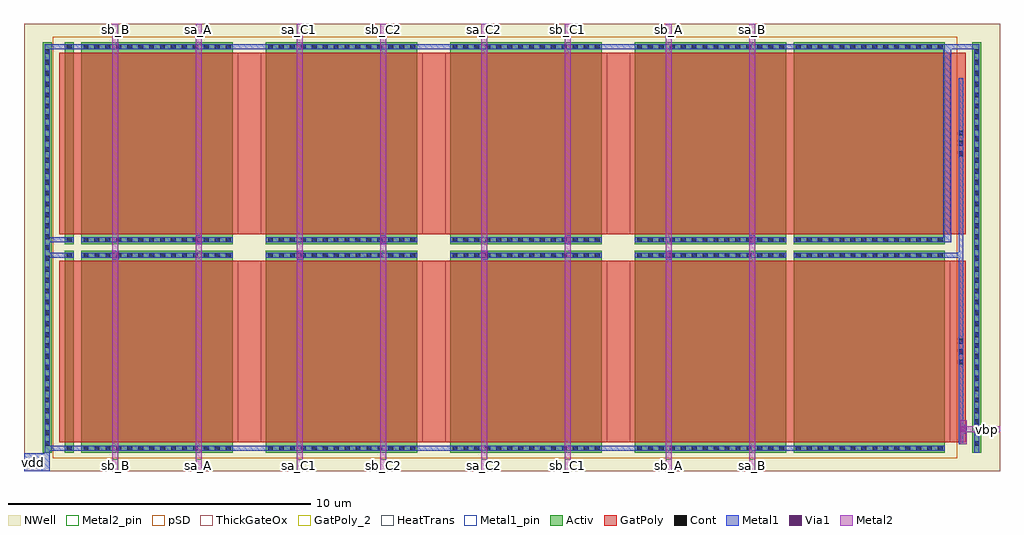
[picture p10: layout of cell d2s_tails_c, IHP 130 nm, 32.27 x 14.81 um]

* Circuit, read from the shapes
.subckt d2s_tails_c sa_A sa_B sa_C1 sa_C2 sb_A sb_B sb_C1 sb_C2 vbp vdd
XM1 vdd vbp vdd vdd sg13_hv_pmos w=0.3u l=6u m=2
XM2 sb_B vbp vdd vdd sg13_hv_pmos w=5u l=6u
XM3 vdd vbp sa_A vdd sg13_hv_pmos w=5u l=6u
XM4 sa_C1 vbp vdd vdd sg13_hv_pmos w=5u l=6u
XM5 vdd vbp sb_C2 vdd sg13_hv_pmos w=5u l=6u
XM6 sa_C2 vbp vdd vdd sg13_hv_pmos w=5u l=6u
XM7 vdd vbp sb_C1 vdd sg13_hv_pmos w=5u l=6u
XM8 sb_A vbp vdd vdd sg13_hv_pmos w=5u l=6u
XM9 vdd vbp sa_B vdd sg13_hv_pmos w=5u l=6u
XM10 vbp vbp vdd vdd sg13_hv_pmos w=5u l=6u
XM11 vdd vbp vdd vdd sg13_hv_pmos w=5u l=6u
.ends

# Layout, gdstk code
from math import pi, radians
import gdstk
lib = gdstk.Library(unit=1e-6, precision=1e-09)
def R(c, l, rs):  # rectangles x0, y0, x1, y1
    for r in rs: c.add(gdstk.rectangle(r[:2], r[2:], *l))
def A(c, l, x, y, w, h, nx, ny, dx, dy):  # array of equal rectangles
    R(c, l, [(x+i*dx, y+j*dy, x+i*dx+w, y+j*dy+h) for i in range(nx) for j in range(ny)])
Activ = (1, 0)
GatPoly = (5, 0)
GatPoly_2 = (5, 2)
Cont = (6, 0)
Metal1 = (8, 0)
Metal1_pin = (8, 2)
Metal2 = (10, 0)
Metal2_pin = (10, 2)
pSD = (14, 0)
Via1 = (19, 0)
NWell = (31, 0)
ThickGateOx = (44, 0)
HeatTrans = (51, 0)

pmoshv_w0p3_l6 = lib.new_cell('pmosHV_w0p3_l6')
R(pmoshv_w0p3_l6, Activ, [(0,0,0.3,0.3), (0,0,6.68,0.3), (6.38,0,6.68,0.3)])
R(pmoshv_w0p3_l6, GatPoly, [(0.34,-0.18,6.34,0.48)])
R(pmoshv_w0p3_l6, GatPoly_2, [(0.34,-0.18,6.34,0.48)])
R(pmoshv_w0p3_l6, Cont, [(0.07,0.07,0.23,0.23), (6.45,0.07,6.61,0.23)])
R(pmoshv_w0p3_l6, Metal1, [(0.07,0,0.23,0.3), (6.45,0,6.61,0.3)])
R(pmoshv_w0p3_l6, Metal1_pin, [(0.07,0,0.23,0.3), (6.45,0,6.61,0.3)])
R(pmoshv_w0p3_l6, pSD, [(-0.18,-0.4,6.86,0.7)])
R(pmoshv_w0p3_l6, NWell, [(-0.62,-0.62,7.3,0.92)])
R(pmoshv_w0p3_l6, ThickGateOx, [(-0.62,-0.62,7.3,0.92)])
R(pmoshv_w0p3_l6, HeatTrans, [(0.34,-0.18,6.34,0.48)])
pmoshv_w0p3_l6.add(gdstk.Label('pmos', (3.34,0.15), layer=51, texttype=0))
pmoshv_w0p3_l6.add(gdstk.Label('pmosHV', (3.34,0.15), layer=63, texttype=0))

pmoshv_1 = lib.new_cell('pmosHV$1')
R(pmoshv_1, Activ, [(0,0,0.3,0.3), (0,0,6.68,5), (6.38,0,6.68,0.3)])
R(pmoshv_1, GatPoly, [(0.34,-0.18,6.34,5.18)])
R(pmoshv_1, GatPoly_2, [(0.34,-0.18,6.34,5.18)])
A(pmoshv_1, Cont, 0.07, 0.07, 0.16, 0.16, 1, 4, 0, 0.36)
A(pmoshv_1, Cont, 6.45, 0.07, 0.16, 0.16, 1, 4, 0, 0.36)
A(pmoshv_1, Cont, 0.07, 1.515, 0.16, 0.16, 1, 3, 0, 0.36)
A(pmoshv_1, Cont, 6.45, 1.515, 0.16, 0.16, 1, 3, 0, 0.36)
A(pmoshv_1, Cont, 0.07, 2.6, 0.16, 0.16, 1, 3, 0, 0.36)
A(pmoshv_1, Cont, 6.45, 2.6, 0.16, 0.16, 1, 3, 0, 0.36)
A(pmoshv_1, Cont, 0.07, 3.685, 0.16, 0.16, 1, 3, 0, 0.36)
A(pmoshv_1, Cont, 6.45, 3.685, 0.16, 0.16, 1, 3, 0, 0.36)
R(pmoshv_1, Cont, [(0.07,4.77,0.23,4.93), (6.45,4.77,6.61,4.93)])
R(pmoshv_1, Metal1, [(0.07,0,0.23,5), (6.45,0,6.61,5)])
R(pmoshv_1, Metal1_pin, [(0.07,0,0.23,5), (6.45,0,6.61,5)])
R(pmoshv_1, pSD, [(-0.18,-0.4,6.86,5.4)])
R(pmoshv_1, NWell, [(-0.62,-0.62,7.3,5.62)])
R(pmoshv_1, ThickGateOx, [(-0.62,-0.62,7.3,5.62)])
R(pmoshv_1, HeatTrans, [(0.34,-0.18,6.34,5.18)])
pmoshv_1.add(gdstk.Label('pmos', (3.34,2.5), layer=51, texttype=0))
pmoshv_1.add(gdstk.Label('pmosHV', (3.34,2.5), layer=63, texttype=0))

d2s_tails_c = lib.new_cell('d2s_tails_c')
R(d2s_tails_c, Activ, [(0.62,0.62,0.92,14.19), (31.35,0.62,31.65,14.19)])
R(d2s_tails_c, GatPoly, [(1.35,0.96,31.13,6.96), (1.35,7.85,31.13,13.85)])
A(d2s_tails_c, Cont, 0.69, 0.845, 0.16, 0.16, 1, 37, 0, 0.36)
A(d2s_tails_c, Cont, 31.42, 0.845, 0.16, 0.16, 1, 37, 0, 0.36)
A(d2s_tails_c, Cont, 30.9, 3.54, 0.16, 0.16, 1, 3, 0, 0.34)
A(d2s_tails_c, Cont, 30.9, 10.43, 0.16, 0.16, 1, 3, 0, 0.34)
A(d2s_tails_c, Metal1, 2.915, 7.005, 0.21, 0.29, 4, 1, 6.1, 0)
A(d2s_tails_c, Metal1, 5.675, 7.515, 0.21, 0.29, 4, 1, 6.1, 0)
R(d2s_tails_c, Metal1, [(0,0,0.85,0.6), (0.69,0.3,0.85,14.12), (31.42,0.62,31.58,14.12), (0.69,0.69,30.45,0.85), (30.9,0.9,31.06,13), (30.955,1.255,31.165,1.545), (0.69,7.07,1.65,7.23), (30.4,7.07,31.06,7.23), (0.69,7.58,1.65,7.74), (30.4,7.58,30.66,14.12), (0.69,13.96,30.45,14.12), (30.4,13.96,31.58,14.12)])
R(d2s_tails_c, Metal1_pin, [(0,0,0.6,0.6)])
A(d2s_tails_c, Metal2, 2.92, 7.005, 0.2, 0.29, 4, 1, 6.1, 0)
A(d2s_tails_c, Metal2, 5.68, 7.515, 0.2, 0.29, 4, 1, 6.1, 0)
R(d2s_tails_c, Metal2, [(2.92,0,3.12,14.81), (5.68,0,5.88,14.81), (9.02,0,9.22,14.81), (11.78,0,11.98,14.81), (15.12,0,15.32,14.81), (17.88,0,18.08,14.81), (21.22,0,21.42,14.81), (23.98,0,24.18,14.81), (30.955,0.9,31.165,1.7), (30.955,1.3,32.27,1.5)])
R(d2s_tails_c, Metal2_pin, [(2.92,0,3.12,0.4), (5.68,0,5.88,0.4), (9.02,0,9.22,0.4), (11.78,0,11.98,0.4), (15.12,0,15.32,0.4), (17.88,0,18.08,0.4), (21.22,0,21.42,0.4), (23.98,0,24.18,0.4), (31.47,1.3,32.27,1.5), (2.92,14.41,3.12,14.81), (5.68,14.41,5.88,14.81), (9.02,14.41,9.22,14.81), (11.78,14.41,11.98,14.81), (15.12,14.41,15.32,14.81), (17.88,14.41,18.08,14.81), (21.22,14.41,21.42,14.81), (23.98,14.41,24.18,14.81)])
R(d2s_tails_c, pSD, [(0.95,0.44,30.85,7.48), (0.95,7.33,30.85,14.37)])
A(d2s_tails_c, Via1, 2.925, 7.055, 0.19, 0.19, 4, 1, 6.1, 0)
A(d2s_tails_c, Via1, 5.685, 7.565, 0.19, 0.19, 4, 1, 6.1, 0)
R(d2s_tails_c, Via1, [(30.965,1.305,31.155,1.495)])
R(d2s_tails_c, NWell, [(0,0,32.27,14.81)])
R(d2s_tails_c, ThickGateOx, [(0,0,32.27,14.81)])
d2s_tails_c.add(gdstk.Reference(pmoshv_w0p3_l6, (1.65,0.62), rotation=pi/2))
d2s_tails_c.add(gdstk.Reference(pmoshv_w0p3_l6, (1.35,14.19), rotation=3*pi/2))
d2s_tails_c.add(gdstk.Reference(pmoshv_1, (6.9,0.62), rotation=pi/2))
d2s_tails_c.add(gdstk.Reference(pmoshv_1, (13,0.62), rotation=pi/2))
d2s_tails_c.add(gdstk.Reference(pmoshv_1, (19.1,0.62), rotation=pi/2))
d2s_tails_c.add(gdstk.Reference(pmoshv_1, (25.2,0.62), rotation=pi/2))
d2s_tails_c.add(gdstk.Reference(pmoshv_1, (30.45,0.62), rotation=pi/2))
d2s_tails_c.add(gdstk.Reference(pmoshv_1, (1.9,14.19), rotation=3*pi/2))
d2s_tails_c.add(gdstk.Reference(pmoshv_1, (8,14.19), rotation=3*pi/2))
d2s_tails_c.add(gdstk.Reference(pmoshv_1, (14.1,14.19), rotation=3*pi/2))
d2s_tails_c.add(gdstk.Reference(pmoshv_1, (20.2,14.19), rotation=3*pi/2))
d2s_tails_c.add(gdstk.Reference(pmoshv_1, (25.45,14.19), rotation=3*pi/2))
d2s_tails_c.add(gdstk.Label('sa_A', (5.78,0.2), layer=10, texttype=25))
d2s_tails_c.add(gdstk.Label('sa_A', (5.78,14.61), layer=10, texttype=25))
d2s_tails_c.add(gdstk.Label('sb_C2', (11.88,0.2), layer=10, texttype=25))
d2s_tails_c.add(gdstk.Label('sb_C2', (11.88,14.61), layer=10, texttype=25))
d2s_tails_c.add(gdstk.Label('sb_C1', (17.98,0.2), layer=10, texttype=25))
d2s_tails_c.add(gdstk.Label('sb_C1', (17.98,14.61), layer=10, texttype=25))
d2s_tails_c.add(gdstk.Label('sa_B', (24.08,0.2), layer=10, texttype=25))
d2s_tails_c.add(gdstk.Label('sa_B', (24.08,14.61), layer=10, texttype=25))
d2s_tails_c.add(gdstk.Label('sb_B', (3.02,0.2), layer=10, texttype=25))
d2s_tails_c.add(gdstk.Label('sb_B', (3.02,14.61), layer=10, texttype=25))
d2s_tails_c.add(gdstk.Label('sa_C1', (9.12,0.2), layer=10, texttype=25))
d2s_tails_c.add(gdstk.Label('sa_C1', (9.12,14.61), layer=10, texttype=25))
d2s_tails_c.add(gdstk.Label('sa_C2', (15.22,0.2), layer=10, texttype=25))
d2s_tails_c.add(gdstk.Label('sa_C2', (15.22,14.61), layer=10, texttype=25))
d2s_tails_c.add(gdstk.Label('sb_A', (21.32,0.2), layer=10, texttype=25))
d2s_tails_c.add(gdstk.Label('sb_A', (21.32,14.61), layer=10, texttype=25))
d2s_tails_c.add(gdstk.Label('vbp', (31.87,1.4), layer=10, texttype=25))
d2s_tails_c.add(gdstk.Label('vdd', (0.3,0.3), layer=8, texttype=25))

lib.write_gds('d2s_tails_c.gds')
